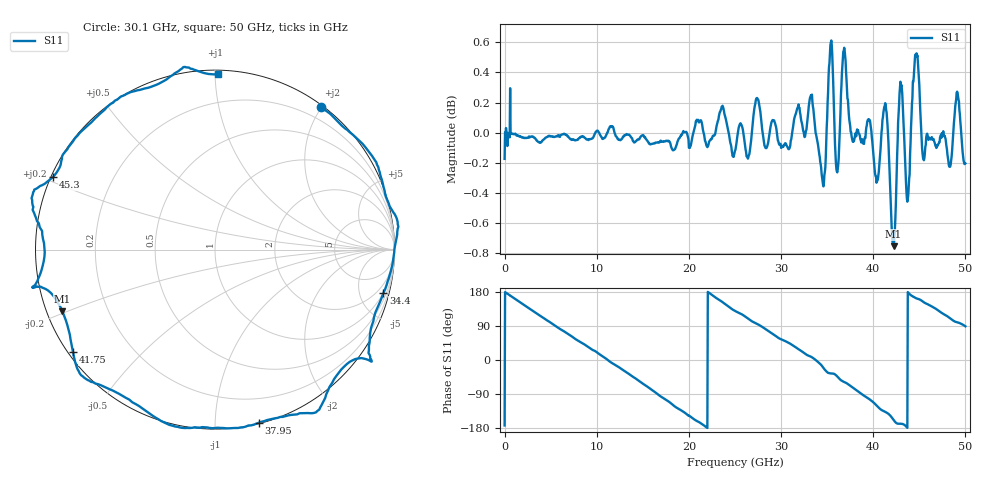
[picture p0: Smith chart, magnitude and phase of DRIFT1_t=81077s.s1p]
!Created with skrf (http://scikit-rf.org).
# Hz S RI R 50.0
!freq ReS11 ImS11
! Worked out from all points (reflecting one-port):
!   1001 points, 300 kHz to 50 GHz, reference 50 ohm
!   lowest |S11| = -0.8 dB at 42.2 GHz (marker M1), VSWR 23.10, Z = 2.25 - j9.73 ohm
!   phase of S11 starts at -173 deg and turns -818 deg over the sweep
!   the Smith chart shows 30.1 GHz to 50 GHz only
!   S11 on the Smith chart (normalised r, x): 30.1 GHz: 0.03, +1.99; 34.4 GHz: 0.98, -7.79; 37.95 GHz: 0.01, -1.29; 41.75 GHz: 0.01, -0.32; 45.3 GHz: 0.01, +0.21; 50 GHz: 0.02, +1.02
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300000  -0.9725 -0.1228
1.450291e9  -0.9126 0.4039
3.25028e9  -0.5932 0.8002
6.250262e9  0.1985 0.9788
9.500243e9  0.8872 0.4516
1.250022e10  0.9301 -0.3522
1.580021e10  0.2425 -0.9611
1.73502e10  -0.2111 -0.9707
1.875019e10  -0.5986 -0.7924
2.165017e10  -0.9909 -0.1222
2.345016e10  -0.9305 0.4118
2.500015e10  -0.6269 0.7616
2.745014e10  -0.0836 1.023
3.010012e10  0.5903 0.7937
3.125011e10  0.7809 0.6282
3.31501e10  1.013 0.1724
3.440009e10  0.9386 -0.2411
3.520009e10  0.8653 -0.5976
3.750008e10  0.3761 -0.9322
3.795007e10  0.2451 -0.9643
3.965006e10  -0.2545 -0.9766
4.175005e10  -0.7913 -0.5693
4.220005e10  -0.8498 -0.3445
4.290004e10  -1.012 -0.2134
4.375004e10  -0.9506 0.0119
4.530003e10  -0.9016 0.4051
4.765001e10  -0.5122 0.8571
5e10  0.0192 0.9766
